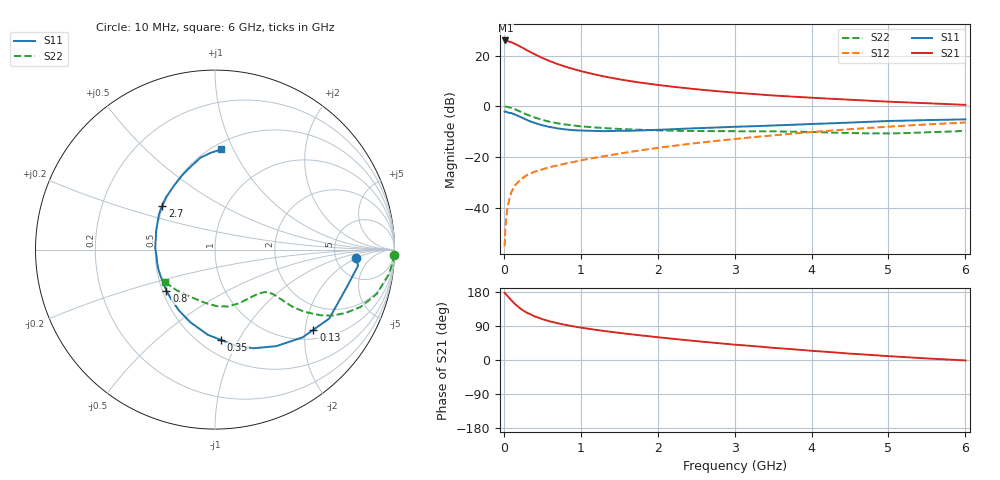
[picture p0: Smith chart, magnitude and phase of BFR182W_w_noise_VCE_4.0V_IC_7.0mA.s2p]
! Infineon Technologies  Discrete & RF Semiconductors
! BFR182W
! VCE =  4.0 V,  IC =  7.0 mA
! Common Emitter S-Parameters:  Jan 2017
# GHz  S  MA  R  50
!  f  S11  S21  S12  S22
! GHz  MAG  ANG  MAG  ANG  MAG  ANG  MAG  ANG
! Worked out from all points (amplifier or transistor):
!   77 points, 10 MHz to 6 GHz, reference 50 ohm
!   highest |S21| = 25.9 dB at 20 MHz (marker M1)
!   |S21| within 3 dB of that: start of sweep to 250.3 MHz
!   unconditionally stable (mu >= 1): 1.222 GHz to 2.761 GHz
!   at 130 MHz: K = 0.22, MSG = 28.3 dB, |S12| = -31.8 dB
!   at 2.2 GHz: K = 1.04, MAG = 10.5 dB, |S12| = -15.5 dB
!   at 6 GHz: K = 0.85, MSG = 3.5 dB, |S12| = -6.3 dB
!   lowest NFmin = 0.95 dB at 450 MHz
!   S11 on the Smith chart (normalised r, x): 10 MHz: 8.00, -1.92; 130 MHz: 1.24, -2.21; 350 MHz: 0.63, -0.85; 800 MHz: 0.52, -0.28; 2.7 GHz: 0.49, +0.28; 6 GHz: 0.55, +0.89
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0.01  0.7888 -3.3  19.57 177.4  0.0018 86.3  0.9978 -1.6
0.02  0.802 -6.5  19.82 175.2  0.004 89.9  0.9959 -3.4
0.05  0.7633 -15.9  19.25 168.1  0.0106 81.7  0.978 -8.1
0.1  0.7435 -31.1  18.26 156.9  0.021 76.1  0.9345 -15.3
0.13  0.7069 -39.2  17.35 151.1  0.0256 71.5  0.8963 -18.9
0.15  0.691 -45.0  16.86 146.9  0.0287 69.3  0.8729 -21.4
0.2  0.6376 -57.5  15.41 138.2  0.0347 64.8  0.8091 -25.9
0.25  0.5902 -68.7  14.04 130.7  0.04 61.2  0.749 -29.4
0.3  0.5436 -78.5  12.71 124.7  0.0447 59.0  0.6922 -31.9
0.35  0.5047 -86.2  11.63 120.3  0.0484 57.9  0.6493 -33.3
0.4  0.4761 -94.9  10.63 115.0  0.0522 57.0  0.6068 -34.8
0.5  0.4278 -108.7  8.981 107.8  0.0579 56.2  0.5437 -36.3
0.6  0.3945 -120.5  7.767 101.8  0.0645 55.9  0.4991 -36.7
0.8  0.3545 -139.7  6.061 92.7  0.0755 58.0  0.4422 -37.1
1.1  0.3338 -160.9  4.55 82.5  0.0935 60.1  0.3962 -38.0
1.5  0.333 178.3  3.426 71.6  0.1186 61.6  0.362 -40.9
2.1  0.3519 156.1  2.543 58.0  0.1608 62.0  0.3368 -49.7
2.7  0.3827 140.2  2.043 46.1  0.2059 60.2  0.3278 -61.4
3.1  0.4029 130.9  1.822 39.0  0.2377 58.2  0.3257 -69.3
4.1  0.458 112.2  1.458 22.9  0.3225 51.2  0.3119 -90.2
5.1  0.5222 97.7  1.226 9.0  0.4092 42.2  0.2972 -120.2
6  0.5587 86.7  1.076 -1.2  0.4847 33.1  0.3327 -146.8
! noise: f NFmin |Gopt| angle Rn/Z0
0.45  0.95  0.17  35  0.16
0.9  1.04  0.15  63  0.15
1.9  1.57  0.18  174  0.13
2.4  1.84  0.19  -178  0.18
